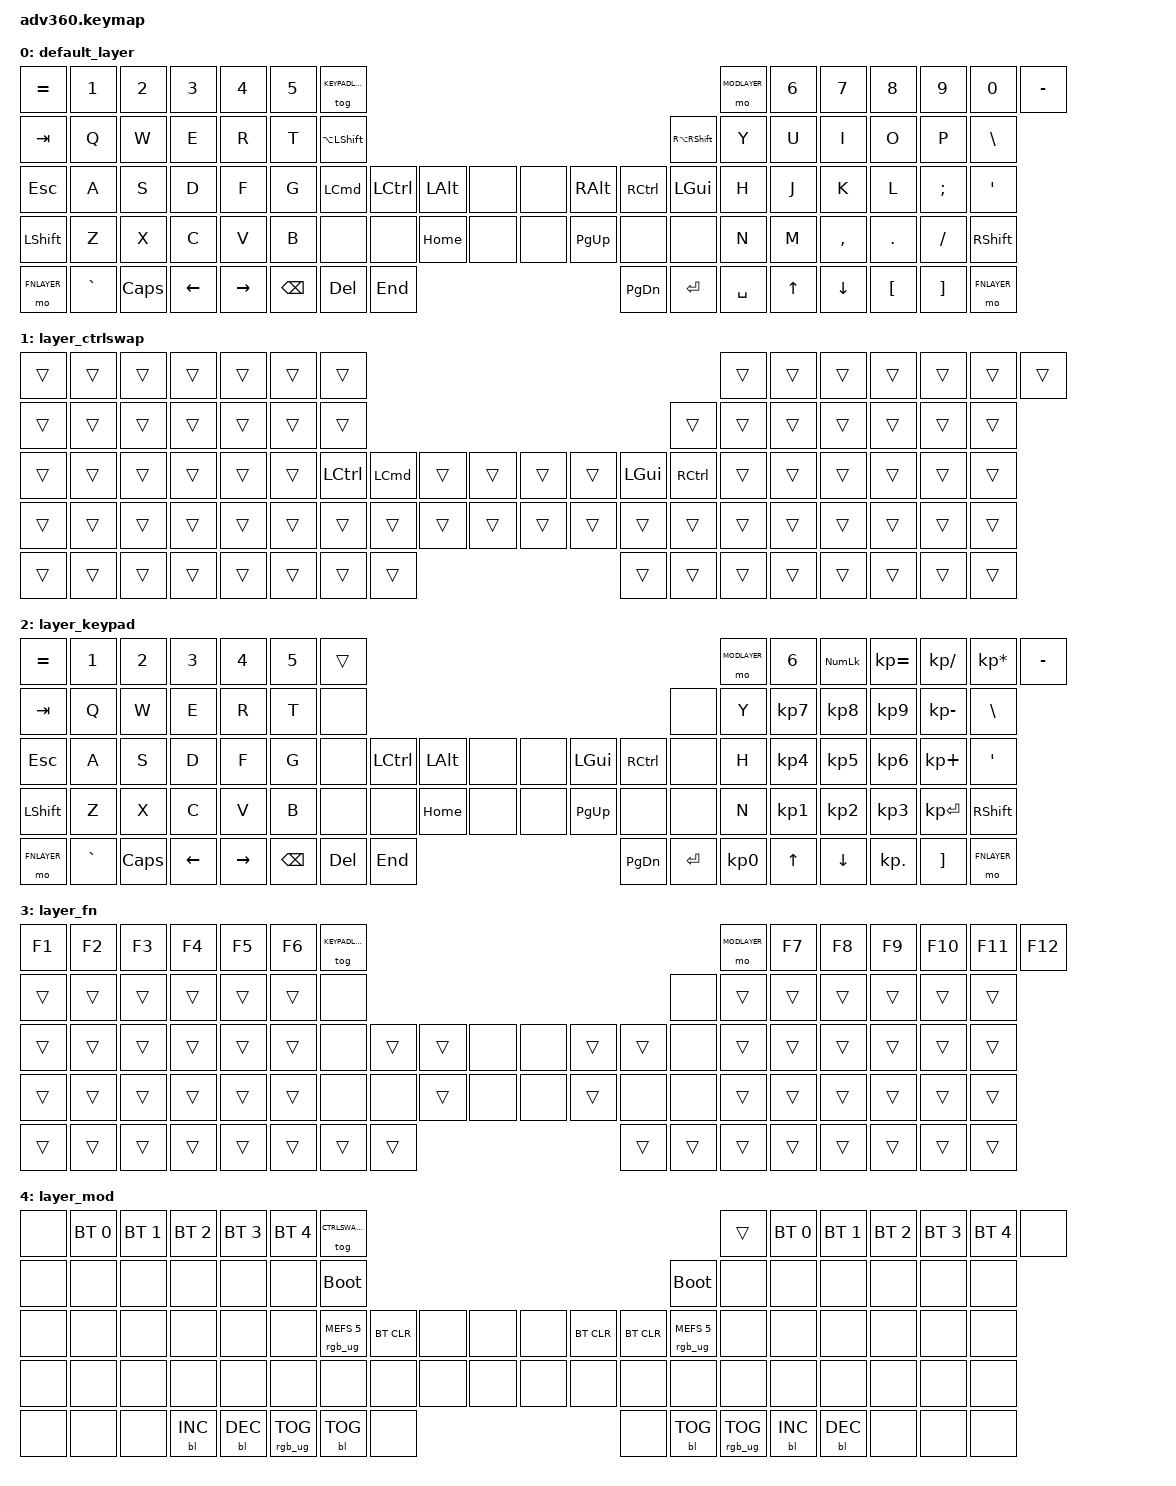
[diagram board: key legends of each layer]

/*
 * Copyright (c) 2020 The ZMK Contributors
 *
 * SPDX-License-Identifier: MIT
 */


/* THIS FILE WAS GENERATED!
 *
 * This file was generated automatically. You may or may not want to
 * edit it directly.
 */

#include <behaviors.dtsi>
#include <dt-bindings/zmk/keys.h>
#include <dt-bindings/zmk/bt.h>
#include <dt-bindings/zmk/rgb.h>
#include <dt-bindings/zmk/backlight.h>

#define DEFAULTLAYER 0
#define CTRLSWAPLAYER 1
#define KEYPADLAYER 2
#define FNLAYER 3
#define MODLAYER 4


/ {
  behaviors {
    #include "macros.dtsi"

    hm: homerow_mods {
        compatible = "zmk,behavior-hold-tap";
        label = "HOMEROW_MODS";
        #binding-cells = <2>;
        tapping-term-ms = <200>;
        quick_tap_ms = <175>;
        flavor = "tap-preferred";
        bindings = <&kp>, <&kp>;
    };
  };

    keymap {
        compatible = "zmk,keymap";

        default_layer {
            bindings = <
 &kp EQUAL     &kp N1    &kp N2    &kp N3     &kp N4  &kp N5               &tog KEYPADLAYER                                                      &mo MODLAYER  &kp N6  &kp N7     &kp N8    &kp N9    &kp N0  &kp MINUS
   &kp TAB      &kp Q     &kp W     &kp E      &kp R   &kp T                &kp LA(LSHIFT)                                                       &kp RA(RSHIFT)   &kp Y   &kp U      &kp I     &kp O     &kp P   &kp BSLH
   &kp ESC      &kp A     &kp S     &kp D      &kp F   &kp G            &kp LCMD  &kp LCTRL  &kp LALT   &none   &none   &kp RALT   &kp RCTRL  &kp LGUI   &kp H   &kp J      &kp K     &kp L  &kp SEMI    &kp SQT
 &kp LSHFT      &kp Z     &kp X     &kp C      &kp V   &kp B                &none     &none  &kp HOME   &none   &none  &kp PG_UP      &none      &none   &kp N   &kp M  &kp COMMA   &kp DOT  &kp FSLH  &kp RSHFT
     &mo FNLAYER  &kp GRAVE  &kp CAPS  &kp LEFT  &kp RIGHT                     &kp BSPC   &kp DEL   &kp END                  &kp PG_DN  &kp ENTER  &kp SPACE          &kp UP   &kp DOWN  &kp LBKT  &kp RBKT      &mo FNLAYER
            >;
        };

        layer_ctrlswap {
            bindings = <
 &trans  &trans  &trans  &trans  &trans  &trans              &trans                                                                 &trans  &trans &trans &trans &trans &trans &trans
 &trans  &trans  &trans  &trans  &trans  &trans             &trans                                                   &trans  &trans  &trans  &trans   &trans   &trans   &trans
 &trans  &trans  &trans  &trans  &trans  &trans             &kp LCTRL  &kp LCMD  &trans     &trans   &trans          &trans &kp LGUI  &kp RCTRL   &trans  &trans  &trans  &trans   &trans   &trans
 &trans  &trans  &trans  &trans  &trans  &trans             &trans   &trans  &trans   &trans   &trans  &trans   &trans   &trans  &trans  &trans  &trans   &trans   &trans   &trans
 &trans  &trans  &trans  &trans  &trans                    &trans  &trans  &trans                  &trans  &trans  &trans          &trans  &trans   &trans   &trans   &trans
            >;
        };

        layer_keypad {
            bindings = <
 &kp EQUAL     &kp N1    &kp N2    &kp N3     &kp N4  &kp N5              &trans                                                                 &mo MODLAYER  &kp N6  &kp KP_NUM  &kp KP_EQUAL  &kp KP_DIVIDE  &kp KP_MULTIPLY  &kp MINUS
   &kp TAB      &kp Q     &kp W     &kp E      &kp R   &kp T               &none                                                                 &none   &kp Y   &kp KP_N7     &kp KP_N8      &kp KP_N9     &kp KP_MINUS   &kp BSLH
   &kp ESC      &kp A     &kp S     &kp D      &kp F   &kp G               &none  &kp LCTRL  &kp LALT   &none   &none   &kp LGUI  &kp RCTRL      &none   &kp H   &kp KP_N4     &kp KP_N5      &kp KP_N6      &kp KP_PLUS    &kp SQT
 &kp LSHFT      &kp Z     &kp X     &kp C      &kp V   &kp B               &none      &none  &kp HOME   &none   &none  &kp PG_UP      &none      &none   &kp N   &kp KP_N1     &kp KP_N2      &kp KP_N3     &kp KP_ENTER  &kp RSHFT
     &mo FNLAYER  &kp GRAVE  &kp CAPS  &kp LEFT  &kp RIGHT                    &kp BSPC    &kp DEL   &kp END                  &kp PG_DN  &kp ENTER  &kp KP_N0              &kp UP      &kp DOWN     &kp KP_DOT         &kp RBKT      &mo FNLAYER
            >;
        };

        layer_fn {
            bindings = <
 &kp F1  &kp F2  &kp F3  &kp F4  &kp F5  &kp F6            &tog KEYPADLAYER                                         &mo MODLAYER  &kp F7  &kp F8  &kp F9  &kp F10  &kp F11  &kp F12
 &trans  &trans  &trans  &trans  &trans  &trans             &none                                                   &none  &trans  &trans  &trans   &trans   &trans   &trans
 &trans  &trans  &trans  &trans  &trans  &trans             &none  &trans  &trans   &none   &none  &trans  &trans   &none  &trans  &trans  &trans   &trans   &trans   &trans
 &trans  &trans  &trans  &trans  &trans  &trans             &none   &none  &trans   &none   &none  &trans   &none   &none  &trans  &trans  &trans   &trans   &trans   &trans
 &trans  &trans  &trans  &trans  &trans                    &trans  &trans  &trans                  &trans  &trans  &trans          &trans  &trans   &trans   &trans   &trans
            >;
        };

        layer_mod {
            bindings = <
  &none  &bt BT_SEL 0  &bt BT_SEL 1  &bt BT_SEL 2  &bt BT_SEL 3  &bt BT_SEL 4                             &tog CTRLSWAPLAYER                                               &trans  &bt BT_SEL 0  &bt BT_SEL 1  &bt BT_SEL 2  &bt BT_SEL 3  &bt BT_SEL 4   &none
  &none         &none         &none         &none         &none         &none                       &bootloader                                                                         &bootloader         &none         &none         &none         &none         &none   &none
  &none         &none         &none         &none         &none         &none            &rgb_ug RGB_MEFS_CMD 5  &bt BT_CLR   &none   &none   &none  &bt BT_CLR  &bt BT_CLR  &rgb_ug RGB_MEFS_CMD 5         &none         &none         &none         &none         &none   &none
  &none         &none         &none         &none         &none         &none                             &none       &none   &none   &none   &none       &none       &none                   &none         &none         &none         &none         &none         &none   &none
  &none         &none         &none    &bl BL_INC    &bl BL_DEC                                 &rgb_ug RGB_TOG  &bl BL_TOG   &none                       &none  &bl BL_TOG         &rgb_ug RGB_TOG                  &bl BL_INC    &bl BL_DEC         &none         &none   &none
            >;
        };

    };
};
